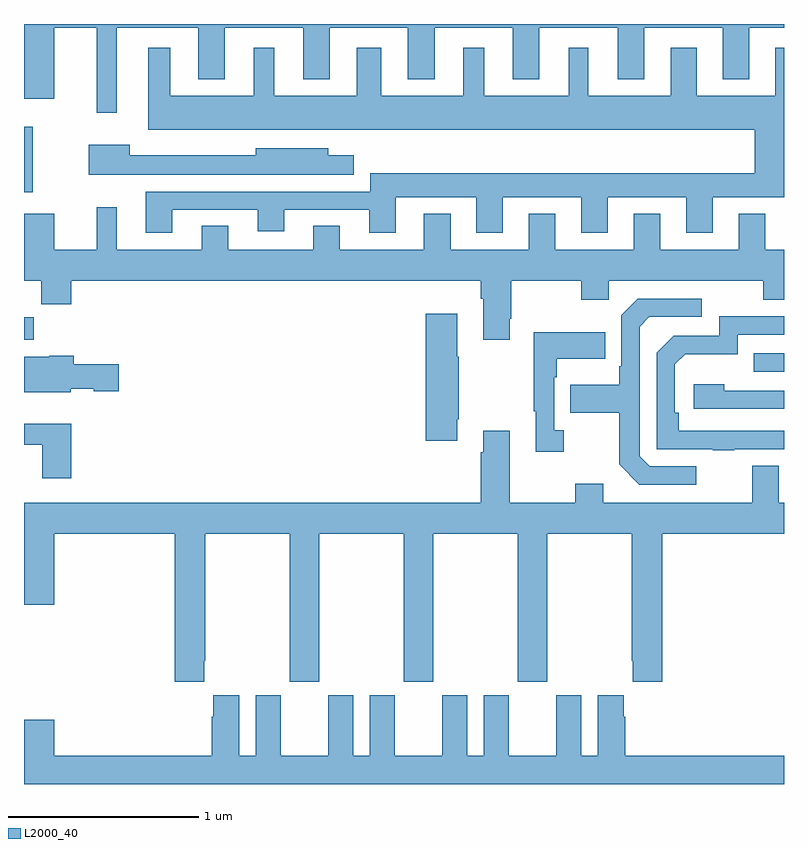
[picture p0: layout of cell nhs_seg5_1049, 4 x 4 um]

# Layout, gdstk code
import gdstk
lib = gdstk.Library(unit=1e-6, precision=1e-09)
def R(c, l, rs):  # rectangles x0, y0, x1, y1
    for r in rs: c.add(gdstk.rectangle(r[:2], r[2:], *l))
def P(c, l, *ps):  # polygons
    for p in ps: c.add(gdstk.Polygon(p, *l))
L2000_40 = (2000, 40)

nhs_seg5_1049 = lib.new_cell('nhs_seg5_1049')
R(nhs_seg5_1049, L2000_40, [(180.841,834.969,181,835.065), (177,835.136,177.05,835.255), (177,835.913,177.046,836.257)])
P(nhs_seg5_1049, L2000_40, [(177.487,836.78),(177.917,836.78),(177.917,836.507),(178.057,836.507),(178.057,836.78),(178.469,836.78),(178.469,836.507),(178.609,836.507),(178.609,836.78),(179.021,836.78),(179.021,836.507),(179.161,836.507),(179.161,836.78),(179.573,836.78),(179.573,836.507),(179.713,836.507),(179.713,836.78),(180.125,836.78),(180.125,836.507),(180.265,836.507),(180.265,836.78),(180.677,836.78),(180.677,836.507),(180.817,836.507),(180.817,836.78),(181,836.78),(181,836.799),(177,836.799),(177,836.406),(177.16,836.406),(177.16,836.78),(177.383,836.78),(177.383,836.331),(177.487,836.331)],
  [(177.781,835.821),(178.229,835.821),(178.229,835.709),(178.369,835.709),(178.369,835.821),(178.817,835.821),(178.817,835.701),(178.957,835.701),(178.957,835.886),(179.381,835.886),(179.381,835.701),(179.521,835.701),(179.521,835.886),(179.933,835.886),(179.933,835.701),(180.073,835.701),(180.073,835.886),(180.485,835.886),(180.485,835.701),(180.625,835.701),(180.625,835.886),(181,835.886),(181,836.674),(180.953,836.674),(180.953,836.422),(180.541,836.422),(180.541,836.674),(180.404,836.674),(180.404,836.422),(179.971,836.422),(179.971,836.674),(179.867,836.674),(179.867,836.422),(179.422,836.422),(179.422,836.674),(179.312,836.674),(179.312,836.422),(178.879,836.422),(178.879,836.674),(178.751,836.674),(178.751,836.422),(178.318,836.422),(178.318,836.674),(178.208,836.674),(178.208,836.422),(177.769,836.422),(177.769,836.674),(177.653,836.674),(177.653,836.243),(180.845,836.243),(180.845,836.014),(178.823,836.014),(178.823,835.917),(177.641,835.917),(177.641,835.701),(177.781,835.701)],
  [(178.735,836.107),(178.6,836.107),(178.6,836.146),(178.22,836.146),(178.22,836.107),(177.556,836.107),(177.556,836.164),(177.342,836.164),(177.342,836.006),(178.735,836.006)],
  [(179.557,835.249),(179.565,835.249),(179.565,835.448),(179.932,835.448),(179.932,835.349),(180.078,835.349),(180.078,835.448),(180.892,835.448),(180.892,835.349),(181,835.349),(181,835.612),(180.901,835.612),(180.901,835.801),(180.761,835.801),(180.761,835.612),(180.349,835.612),(180.349,835.801),(180.209,835.801),(180.209,835.612),(179.797,835.612),(179.797,835.801),(179.657,835.801),(179.657,835.612),(179.245,835.612),(179.245,835.801),(179.105,835.801),(179.105,835.612),(178.663,835.612),(178.663,835.736),(178.523,835.736),(178.523,835.612),(178.075,835.612),(178.075,835.736),(177.935,835.736),(177.935,835.612),(177.487,835.612),(177.487,835.834),(177.383,835.834),(177.383,835.612),(177.16,835.612),(177.16,835.801),(177,835.801),(177,835.448),(177.091,835.448),(177.091,835.324),(177.248,835.324),(177.248,835.448),(179.405,835.448),(179.405,835.352),(179.417,835.352),(179.417,835.137),(179.557,835.137)],
  [(180.538,834.471),(180.294,834.471),(180.24,834.525),(180.24,835.206),(180.291,835.257),(180.568,835.257),(180.568,835.353),(180.231,835.353),(180.144,835.266),(180.144,834.997),(180.132,834.997),(180.132,834.901),(179.875,834.901),(179.875,834.754),(180.132,834.754),(180.132,834.481),(180.237,834.375),(180.538,834.375)],
  [(179.281,834.718),(179.289,834.718),(179.289,835.049),(179.281,835.049),(179.281,835.273),(179.114,835.273),(179.114,834.606),(179.281,834.606)],
  [(180.737,834.561),(181,834.561),(181,834.657),(180.446,834.657),(180.446,834.754),(180.426,834.754),(180.426,835.008),(180.479,835.061),(180.756,835.061),(180.756,835.164),(181,835.164),(181,835.26),(180.66,835.26),(180.66,835.158),(180.42,835.158),(180.33,835.068),(180.33,834.561),(180.625,834.561),(180.625,834.556),(180.737,834.556)],
  [(179.842,834.662),(179.79,834.662),(179.79,834.941),(179.803,834.941),(179.803,835.037),(180.059,835.037),(180.059,835.177),(179.682,835.177),(179.682,834.761),(179.693,834.761),(179.693,834.549),(179.842,834.549)],
  [(177.246,834.878),(177.366,834.878),(177.366,834.866),(177.499,834.866),(177.499,835.008),(177.263,835.008),(177.263,835.054),(177.132,835.054),(177.132,835.048),(177,835.048),(177,834.86),(177.246,834.86)],
  [(181,834.87),(180.686,834.87),(180.686,834.904),(180.525,834.904),(180.525,834.774),(181,834.774)],
  [(177.248,834.694),(177,834.694),(177,834.585),(177.095,834.585),(177.095,834.408),(177.248,834.408)],
  [(177.949,833.449),(177.954,833.449),(177.954,834.116),(178.399,834.116),(178.399,833.337),(178.554,833.337),(178.554,834.116),(178.999,834.116),(178.999,833.337),(179.154,833.337),(179.154,834.116),(179.599,834.116),(179.599,833.337),(179.754,833.337),(179.754,834.116),(180.199,834.116),(180.199,833.449),(180.203,833.449),(180.203,833.337),(180.359,833.337),(180.359,834.116),(181,834.116),(181,834.28),(180.973,834.28),(180.973,834.475),(180.833,834.475),(180.833,834.28),(180.049,834.28),(180.049,834.379),(179.902,834.379),(179.902,834.28),(179.557,834.28),(179.557,834.658),(179.417,834.658),(179.417,834.545),(179.405,834.545),(179.405,834.28),(177,834.28),(177,833.742),(177.16,833.742),(177.16,834.116),(177.794,834.116),(177.794,833.337),(177.949,833.337)],
  [(181,832.948),(180.164,832.948),(180.164,833.153),(180.157,833.153),(180.157,833.266),(180.02,833.266),(180.02,832.948),(179.932,832.948),(179.932,833.266),(179.801,833.266),(179.801,832.948),(179.551,832.948),(179.551,833.266),(179.42,833.266),(179.42,832.948),(179.332,832.948),(179.332,833.266),(179.201,833.266),(179.201,832.948),(178.951,832.948),(178.951,833.266),(178.82,833.266),(178.82,832.948),(178.732,832.948),(178.732,833.266),(178.601,833.266),(178.601,832.948),(178.351,832.948),(178.351,833.266),(178.22,833.266),(178.22,832.948),(178.132,832.948),(178.132,833.266),(177.995,833.266),(177.995,833.153),(177.989,833.153),(177.989,832.948),(177.16,832.948),(177.16,833.137),(177,833.137),(177,832.799),(181,832.799)])

lib.write_gds('nhs_seg5_1049.gds')
